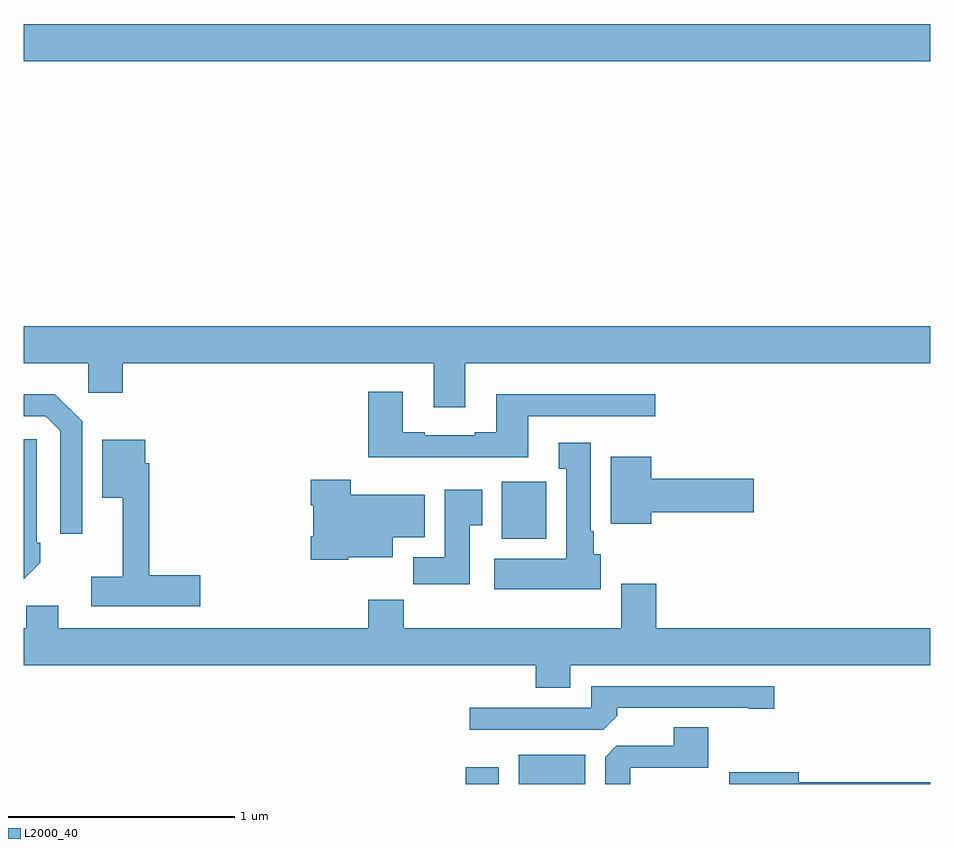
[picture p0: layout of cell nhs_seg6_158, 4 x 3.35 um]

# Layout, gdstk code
import gdstk
lib = gdstk.Library(unit=1e-6, precision=1e-09)
def R(c, l, rs):  # rectangles x0, y0, x1, y1
    for r in rs: c.add(gdstk.rectangle(r[:2], r[2:], *l))
def P(c, l, *ps):  # polygons
    for p in ps: c.add(gdstk.Polygon(p, *l))
L2000_40 = (2000, 40)

nhs_seg6_158 = lib.new_cell('nhs_seg6_158')
R(nhs_seg6_158, L2000_40, [(120.95,925.5,121.096,925.573), (121.184,925.5,121.477,925.63), (121.109,926.582,121.305,926.833), (119,928.688,123,928.852)])
P(nhs_seg6_158, L2000_40, [(120.949,927.356),(123,927.356),(123,927.52),(119,927.52),(119,927.356),(119.286,927.356),(119.286,927.225),(119.438,927.225),(119.438,927.356),(120.809,927.356),(120.809,927.162),(120.949,927.162)],
  [(121.225,927.123),(121.786,927.123),(121.786,927.22),(121.085,927.22),(121.085,927.052),(120.989,927.052),(120.989,927.039),(120.769,927.039),(120.769,927.052),(120.673,927.052),(120.673,927.229),(120.521,927.229),(120.521,926.942),(121.225,926.942)],
  [(119.259,927.099),(119.138,927.22),(119,927.22),(119,927.123),(119.097,927.123),(119.163,927.057),(119.163,926.604),(119.259,926.604)],
  [(119.073,926.475),(119.073,926.563),(119.058,926.563),(119.058,927.021),(119,927.021),(119,926.402)],
  [(119.779,926.42),(119.555,926.42),(119.555,926.915),(119.536,926.915),(119.536,927.019),(119.348,927.019),(119.348,926.762),(119.438,926.762),(119.438,926.415),(119.298,926.415),(119.298,926.285),(119.779,926.285)],
  [(121.546,926.514),(121.516,926.514),(121.516,926.614),(121.501,926.614),(121.501,927.004),(121.361,927.004),(121.361,926.891),(121.394,926.891),(121.394,926.494),(121.077,926.494),(121.077,926.36),(121.546,926.36)],
  [(121.768,926.699),(122.221,926.699),(122.221,926.846),(121.768,926.846),(121.768,926.944),(121.589,926.944),(121.589,926.648),(121.768,926.648)],
  [(120.432,926.501),(120.628,926.501),(120.628,926.588),(120.769,926.588),(120.769,926.776),(120.444,926.776),(120.444,926.842),(120.266,926.842),(120.266,926.729),(120.278,926.729),(120.278,926.593),(120.266,926.593),(120.266,926.489),(120.432,926.489)],
  [(120.967,926.641),(121.024,926.641),(121.024,926.797),(120.857,926.797),(120.857,926.5),(120.718,926.5),(120.718,926.382),(120.967,926.382)],
  [(121.411,926.024),(123,926.024),(123,926.188),(121.79,926.188),(121.79,926.383),(121.637,926.383),(121.637,926.188),(120.677,926.188),(120.677,926.312),(120.521,926.312),(120.521,926.188),(119.152,926.188),(119.152,926.286),(119.013,926.286),(119.013,926.188),(119,926.188),(119,926.024),(121.259,926.024),(121.259,925.925),(121.411,925.925)],
  [(121.619,925.802),(121.619,925.836),(122.198,925.836),(122.198,925.831),(122.311,925.831),(122.311,925.932),(121.503,925.932),(121.503,925.836),(120.969,925.836),(120.969,925.74),(121.557,925.74)],
  [(121.677,925.572),(122.021,925.572),(122.021,925.751),(121.868,925.751),(121.868,925.668),(121.614,925.668),(121.565,925.619),(121.565,925.5),(121.677,925.5)],
  [(123,925.508),(122.419,925.508),(122.419,925.552),(122.112,925.552),(122.112,925.5),(123,925.5)])

lib.write_gds('nhs_seg6_158.gds')
